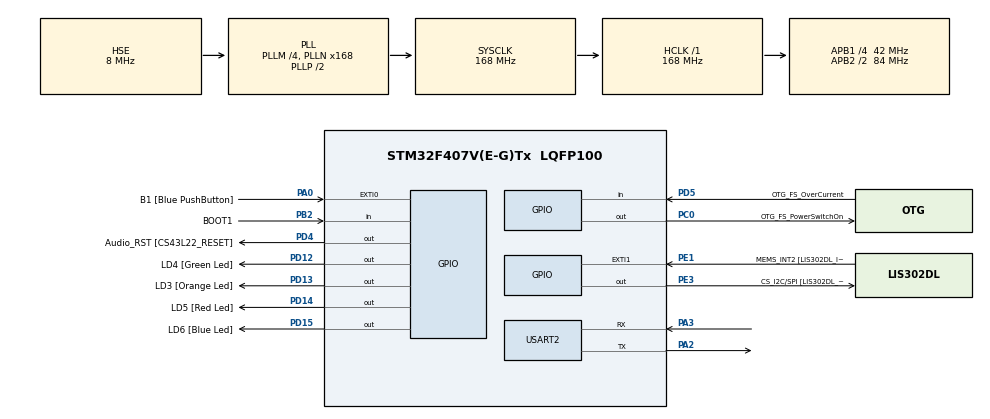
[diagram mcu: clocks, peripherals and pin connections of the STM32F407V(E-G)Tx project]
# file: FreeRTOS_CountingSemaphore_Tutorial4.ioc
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Mcu.Family=STM32F4
PA11.GPIO_Speed=GPIO_SPEED_FREQ_LOW
PC3.GPIO_Mode=GPIO_MODE_AF_PP
PD12.GPIO_Label=LD4 [Green Led]
PH0-OSC_IN.Signal=RCC_OSC_IN
VP_SYS_VS_tim6.Mode=TIM6
RCC.CortexFreq_Value=168000000
PC10.GPIO_PuPd=GPIO_NOPULL
PB10.GPIO_Speed=GPIO_SPEED_FREQ_LOW
PB6.GPIO_Mode=GPIO_MODE_AF_OD
PB10.GPIO_PuPd=GPIO_NOPULL
NVIC.TIM6_DAC_IRQn=true\:0\:0\:false\:false\:true\:false\:false\:true
PA10.GPIO_PuPd=GPIO_NOPULL
PD15.GPIO_Speed=GPIO_SPEED_FREQ_LOW
PC10.Signal=I2S3_CK
PC12.Signal=I2S3_SD
PA14.GPIO_Label=SWCLK
PA7.GPIO_Mode=GPIO_MODE_AF_PP
PC0.GPIO_Label=OTG_FS_PowerSwitchOn
PA6.GPIO_Label=SPI1_MISO [LIS302DL_SDO]
PB6.GPIO_Label=Audio_SCL [CS43L22_SCL]
PC10.GPIO_Speed=GPIO_SPEED_FREQ_LOW
PA11.GPIO_PuPd=GPIO_NOPULL
PC15-OSC32_OUT.GPIO_Label=PC15-OSC32_OUT
PC3.GPIO_Speed=GPIO_SPEED_FREQ_LOW
RCC.SYSCLKSource=RCC_SYSCLKSOURCE_PLLCLK
ProjectManager.StackSize=0x400
PA6.GPIO_Mode=GPIO_MODE_AF_PP
PD13.Signal=GPIO_Output
PD14.GPIO_Speed=GPIO_SPEED_FREQ_LOW
PA12.Signal=USB_OTG_FS_DP
RCC.HCLKFreq_Value=168000000
PD4.Signal=GPIO_Output
RCC.APB2TimFreq_Value=168000000
PB6.Signal=I2C1_SCL
PC7.Signal=I2S3_MCK
PC3.Signal=I2S2_SD
PE1.Signal=GPXTI1
RCC.AHBFreq_Value=168000000
PH0-OSC_IN.Mode=HSE-External-Oscillator
PH0-OSC_IN.GPIO_Label=PH0-OSC_IN
PA9.GPIO_Mode=GPIO_MODE_INPUT
RCC.HSE_VALUE=8000000
PA4.GPIO_PuPd=GPIO_NOPULL
PB2.Signal=GPIO_Input
PA4.GPIO_Speed=GPIO_SPEED_FREQ_LOW
PA6.GPIO_PuPd=GPIO_NOPULL
PA5.GPIO_PuPd=GPIO_NOPULL
PA10.GPIO_Label=OTG_FS_ID
PC7.GPIO_Mode=GPIO_MODE_AF_PP
PD5.GPIO_Mode=GPIO_MODE_INPUT
PD14.GPIO_PuPd=GPIO_NOPULL
VP_FREERTOS_VS_CMSIS_V1.Mode=CMSIS_V1
PB2.GPIO_PuPd=GPIO_NOPULL
PH1-OSC_OUT.Mode=HSE-External-Oscillator
PD13.GPIO_Label=LD3 [Orange Led]
Mcu.Package=LQFP100
PB9.Signal=I2C1_SDA
PA6.Signal=SPI1_MISO
NVIC.TimeBase=TIM6_DAC_IRQn
USART2.VirtualMode=VM_ASYNC
PD12.Signal=GPIO_Output
PD5.GPIO_Label=OTG_FS_OverCurrent
PD15.GPIO_PuPd=GPIO_NOPULL
NVIC.TimeBaseIP=TIM6
PA10.Signal=USB_OTG_FS_ID
PB9.GPIO_PuPd=GPIO_NOPULL
PA10.GPIO_Speed=GPIO_SPEED_FREQ_LOW
RCC.APB2CLKDivider=RCC_HCLK_DIV2
PB9.GPIO_Speed=GPIO_SPEED_FREQ_LOW
RCC.APB1TimFreq_Value=84000000
PC14-OSC32_IN.GPIO_Label=PC14-OSC32_IN
PC12.GPIO_PuPd=GPIO_NOPULL
PA6.GPIO_Speed=GPIO_SPEED_FREQ_LOW
PC0.GPIO_PuPd=GPIO_NOPULL
PA12.GPIO_PuPd=GPIO_NOPULL
PA4.GPIO_Label=I2S3_WS [CS43L22_LRCK]
PD15.Signal=GPIO_Output
PC0.PinState=GPIO_PIN_SET
PA12.GPIO_Speed=GPIO_SPEED_FREQ_LOW
PA3.Signal=USART2_RX
PB3.GPIO_Label=SWO
RCC.PLLSourceVirtual=RCC_PLLSOURCE_HSE
PD12.GPIO_Speed=GPIO_SPEED_FREQ_LOW
FREERTOS.Tasks01=defaultTask,0,128,StartDefaultTask,Default,NULL,Dynamic,NULL,NULL
PD15.GPIO_Label=LD6 [Blue Led]
PB9.GPIO_Label=Audio_SDA [CS43L22_SDA]
PC10.GPIO_Label=I2S3_SCK [CS43L22_SCLK]
PA9.GPIO_Label=VBUS_FS
PB6.GPIO_PuPd=GPIO_NOPULL
PA11.GPIO_Label=OTG_FS_DM
PE1.GPIO_PuPd=GPIO_NOPULL
PD5.Signal=GPIO_Input
PC0.Signal=GPIO_Output
PE1.GPIO_ModeDefaultEXTI=GPIO_MODE_EVT_RISING
RCC.APB1CLKDivider=RCC_HCLK_DIV4
PC14-OSC32_IN.Signal=RCC_OSC32_IN
PA9.GPIO_PuPd=GPIO_NOPULL
NVIC.USART2_IRQn=true\:5\:0\:false\:false\:true\:true\:true\:true
PA12.GPIO_Label=OTG_FS_DP
PA0-WKUP.GPIO_Label=B1 [Blue PushButton]
PA0-WKUP.Signal=GPXTI0
PA10.GPIO_Mode=GPIO_MODE_AF_PP
PA3.Mode=Asynchronous
PA13.Signal=SYS_JTMS-SWDIO
PC10.GPIO_Mode=GPIO_MODE_AF_PP
PD4.GPIO_PuPd=GPIO_NOPULL
PC0.GPIO_Speed=GPIO_SPEED_FREQ_LOW
PB10.GPIO_Mode=GPIO_MODE_AF_PP
ProjectManager.TargetToolchain=STM32CubeIDE
PB10.GPIO_Label=CLK_IN [MP45DT02_CLK]
PA9.Signal=USB_OTG_FS_VBUS
PC7.GPIO_PuPd=GPIO_NOPULL
RCC.LSE_VALUE=32768
PC15-OSC32_OUT.Signal=RCC_OSC32_OUT
PA7.GPIO_PuPd=GPIO_NOPULL
PB10.Signal=I2S2_CK
PA5.Signal=SPI1_SCK
board=STM32F407G-DISC1
PD13.GPIO_Speed=GPIO_SPEED_FREQ_LOW
PC7.GPIO_Speed=GPIO_SPEED_FREQ_LOW
RCC.VCOOutputFreq_Value=336000000
PE1.GPIO_Label=MEMS_INT2 [LIS302DL_INT2]
PA7.GPIO_Speed=GPIO_SPEED_FREQ_LOW
PB9.GPIO_Mode=GPIO_MODE_AF_OD
PA12.GPIO_Mode=GPIO_MODE_AF_PP
PA4.GPIO_Mode=GPIO_MODE_AF_PP
RCC.APB2Freq_Value=84000000
PB2.GPIO_Mode=GPIO_MODE_INPUT
PD4.GPIO_Label=Audio_RST [CS43L22_RESET]
PD4.GPIO_Speed=GPIO_SPEED_FREQ_LOW
PE3.GPIO_PuPd=GPIO_NOPULL
PH1-OSC_OUT.Signal=RCC_OSC_OUT
PD13.GPIO_PuPd=GPIO_NOPULL
PD5.GPIO_PuPd=GPIO_NOPULL
PD14.GPIO_Label=LD5 [Red Led]
PH1-OSC_OUT.GPIO_Label=PH1-OSC_OUT
Mcu.Name=STM32F407V(E-G)Tx
PA2.Signal=USART2_TX
PA13.GPIO_Label=SWDIO
PC7.GPIO_Label=I2S3_MCK [CS43L22_MCLK]
PD14.Signal=GPIO_Output
RCC.48MHZClocksFreq_Value=48000000
PB3.Signal=SYS_JTDO-SWO
PA4.Signal=I2S3_WS
RCC.SYSCLKFreq_VALUE=168000000
PC12.GPIO_Mode=GPIO_MODE_AF_PP
PA7.GPIO_Label=SPI1_MOSI [LIS302DL_SDA/SDI/SDO]
FREERTOS.configUSE_COUNTING_SEMAPHORES=1
PA5.GPIO_Label=SPI1_SCK [LIS302DL_SCL/SPC]
PE3.GPIO_Speed=GPIO_SPEED_FREQ_LOW
PC12.GPIO_Label=I2S3_SD [CS43L22_SDIN]
PA11.Signal=USB_OTG_FS_DM
PA14.Signal=SYS_JTCK-SWCLK
PB2.GPIO_Label=BOOT1
ProjectManager.HeapSize=0x200
RCC.HSI_VALUE=16000000
PA5.GPIO_Speed=GPIO_SPEED_FREQ_LOW
RCC.PLLQ=7
NVIC.PriorityGroup=NVIC_PRIORITYGROUP_4
RCC.PLLM=4
RCC.PLLN=168
PE3.Signal=GPIO_Output
PA2.Mode=Asynchronous
PE3.GPIO_Label=CS_I2C/SPI [LIS302DL_CS_I2C/SPI]
PC3.GPIO_Label=PDM_OUT [MP45DT02_DOUT]
PA11.GPIO_Mode=GPIO_MODE_AF_PP
PB6.GPIO_Speed=GPIO_SPEED_FREQ_LOW
RCC.APB1Freq_Value=42000000
PA5.GPIO_Mode=GPIO_MODE_AF_PP
PC12.GPIO_Speed=GPIO_SPEED_FREQ_LOW
PC3.GPIO_PuPd=GPIO_NOPULL
PD12.GPIO_PuPd=GPIO_NOPULL
PA7.Signal=SPI1_MOSI

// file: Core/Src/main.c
/* USER CODE BEGIN Header */
/**
  ******************************************************************************
  * @file           : main.c
  * @brief          : Main program body
  ******************************************************************************
  * @attention
  *
  * <h2><center>&copy; Copyright (c) 2022 STMicroelectronics.
  * All rights reserved.</center></h2>
  *
  * This software component is licensed by ST under BSD 3-Clause license,
  * the "License"; You may not use this file except in compliance with the
  * License. You may obtain a copy of the License at:
  *                        opensource.org/licenses/BSD-3-Clause
  *
  ******************************************************************************
  */
/* USER CODE END Header */
#include "main.h"
//#include "cmsis_os.h"

/* USER CODE BEGIN Includes */
#include "FreeRTOS.h"
#include "task.h"
#include "timers.h"
#include "queue.h"
#include "semphr.h"
#include "event_groups.h"

#include "stdlib.h"
#include "string.h"
/* USER CODE END Includes */

UART_HandleTypeDef huart2;

void SystemClock_Config(void);
static void MX_GPIO_Init(void);
static void MX_USART2_UART_Init(void);

/* USER CODE BEGIN PFP */

//creating task defines

TaskHandle_t HPThandler;
void HPT_TASK(void *pvParameters);

TaskHandle_t MPThandler;
void MPT_TASK(void *pvParameters);

TaskHandle_t LPThandler;
void LPT_TASK(void *pvParameters);

TaskHandle_t VLPThandler;
void VLPT_TASK(void *pvParameters);

//semaphore related
SemaphoreHandle_t CountingSemaphore;

//resource related
int resource[3] = {111,222,333};
int indx = 0;

//UART data transfer

uint8_t rx_data = 0;

/* USER CODE END PFP */

int main(void)
{

  /* MCU Configuration--------------------------------------------------------*/

  /* Reset of all peripherals, Initializes the Flash interface and the Systick. */
  HAL_Init();

  /* Configure the system clock */
  SystemClock_Config();

  /* Initialize all configured peripherals */
  MX_GPIO_Init();
  MX_USART2_UART_Init();
  /* USER CODE BEGIN 2 */
HAL_UART_Receive_IT(&huart2, &rx_data, 1);
  /* USER CODE END 2 */

CountingSemaphore = xSemaphoreCreateCounting(3,0);
if(CountingSemaphore == NULL) HAL_UART_Transmit(&huart2, (uint8_t*)"Unable to create semaphore\n\n", 28, 100);
else HAL_UART_Transmit(&huart2, (uint8_t*)"Counting Semaphore created successfully\n\n", 41, 100);

// create TASKS
xTaskCreate(HPT_TASK, "HPT", 128, NULL, 3, &HPThandler);

xTaskCreate(MPT_TASK, "MPT", 128, NULL, 2, &MPThandler);

xTaskCreate(LPT_TASK, "LPT", 128, NULL, 1, &LPThandler);

xTaskCreate(VLPT_TASK, "VLPT", 128, NULL, 0, &VLPThandler);

vTaskStartScheduler();
  /* We should never get here as control is now taken by the scheduler */
  /* Infinite loop */
  while (1)
  {

  }
}

void SystemClock_Config(void)
{
  RCC_OscInitTypeDef RCC_OscInitStruct = {0};
  RCC_ClkInitTypeDef RCC_ClkInitStruct = {0};

  /** Configure the main internal regulator output voltage
  */
  __HAL_RCC_PWR_CLK_ENABLE();
  __HAL_PWR_VOLTAGESCALING_CONFIG(PWR_REGULATOR_VOLTAGE_SCALE1);
  /** Initializes the RCC Oscillators according to the specified parameters
  * in the RCC_OscInitTypeDef structure.
  */
  RCC_OscInitStruct.OscillatorType = RCC_OSCILLATORTYPE_HSE;
  RCC_OscInitStruct.HSEState = RCC_HSE_ON;
  RCC_OscInitStruct.PLL.PLLState = RCC_PLL_ON;
  RCC_OscInitStruct.PLL.PLLSource = RCC_PLLSOURCE_HSE;
  RCC_OscInitStruct.PLL.PLLM = 4;
  RCC_OscInitStruct.PLL.PLLN = 168;
  RCC_OscInitStruct.PLL.PLLP = RCC_PLLP_DIV2;
  RCC_OscInitStruct.PLL.PLLQ = 7;
  if (HAL_RCC_OscConfig(&RCC_OscInitStruct) != HAL_OK)
  {
    Error_Handler();
  }
  /** Initializes the CPU, AHB and APB buses clocks
  */
  RCC_ClkInitStruct.ClockType = RCC_CLOCKTYPE_HCLK|RCC_CLOCKTYPE_SYSCLK
                              |RCC_CLOCKTYPE_PCLK1|RCC_CLOCKTYPE_PCLK2;
  RCC_ClkInitStruct.SYSCLKSource = RCC_SYSCLKSOURCE_PLLCLK;
  RCC_ClkInitStruct.AHBCLKDivider = RCC_SYSCLK_DIV1;
  RCC_ClkInitStruct.APB1CLKDivider = RCC_HCLK_DIV4;
  RCC_ClkInitStruct.APB2CLKDivider = RCC_HCLK_DIV2;

  if (HAL_RCC_ClockConfig(&RCC_ClkInitStruct, FLASH_LATENCY_5) != HAL_OK)
  {
    Error_Handler();
  }
}

static void MX_USART2_UART_Init(void)
{

  huart2.Instance = USART2;
  huart2.Init.BaudRate = 115200;
  huart2.Init.WordLength = UART_WORDLENGTH_8B;
  huart2.Init.StopBits = UART_STOPBITS_1;
  huart2.Init.Parity = UART_PARITY_NONE;
  huart2.Init.Mode = UART_MODE_TX_RX;
  huart2.Init.HwFlowCtl = UART_HWCONTROL_NONE;
  huart2.Init.OverSampling = UART_OVERSAMPLING_16;
  if (HAL_UART_Init(&huart2) != HAL_OK)
  {
    Error_Handler();
  }

}

static void MX_GPIO_Init(void)
{
  GPIO_InitTypeDef GPIO_InitStruct = {0};

  /* GPIO Ports Clock Enable */
  __HAL_RCC_GPIOE_CLK_ENABLE();
  __HAL_RCC_GPIOC_CLK_ENABLE();
  __HAL_RCC_GPIOH_CLK_ENABLE();
  __HAL_RCC_GPIOA_CLK_ENABLE();
  __HAL_RCC_GPIOB_CLK_ENABLE();
  __HAL_RCC_GPIOD_CLK_ENABLE();

  /*Configure GPIO pin Output Level */
  HAL_GPIO_WritePin(CS_I2C_SPI_GPIO_Port, CS_I2C_SPI_Pin, GPIO_PIN_RESET);

  /*Configure GPIO pin Output Level */
  HAL_GPIO_WritePin(OTG_FS_PowerSwitchOn_GPIO_Port, OTG_FS_PowerSwitchOn_Pin, GPIO_PIN_SET);

  /*Configure GPIO pin Output Level */
  HAL_GPIO_WritePin(GPIOD, LD4_Pin|LD3_Pin|LD5_Pin|LD6_Pin
                          |Audio_RST_Pin, GPIO_PIN_RESET);

  /*Configure GPIO pin : CS_I2C_SPI_Pin */
  GPIO_InitStruct.Pin = CS_I2C_SPI_Pin;
  GPIO_InitStruct.Mode = GPIO_MODE_OUTPUT_PP;
  GPIO_InitStruct.Pull = GPIO_NOPULL;
  GPIO_InitStruct.Speed = GPIO_SPEED_FREQ_LOW;
  HAL_GPIO_Init(CS_I2C_SPI_GPIO_Port, &GPIO_InitStruct);

  /*Configure GPIO pin : OTG_FS_PowerSwitchOn_Pin */
  GPIO_InitStruct.Pin = OTG_FS_PowerSwitchOn_Pin;
  GPIO_InitStruct.Mode = GPIO_MODE_OUTPUT_PP;
  GPIO_InitStruct.Pull = GPIO_NOPULL;
  GPIO_InitStruct.Speed = GPIO_SPEED_FREQ_LOW;
  HAL_GPIO_Init(OTG_FS_PowerSwitchOn_GPIO_Port, &GPIO_InitStruct);

  /*Configure GPIO pin : PDM_OUT_Pin */
  GPIO_InitStruct.Pin = PDM_OUT_Pin;
  GPIO_InitStruct.Mode = GPIO_MODE_AF_PP;
  GPIO_InitStruct.Pull = GPIO_NOPULL;
  GPIO_InitStruct.Speed = GPIO_SPEED_FREQ_LOW;
  GPIO_InitStruct.Alternate = GPIO_AF5_SPI2;
  HAL_GPIO_Init(PDM_OUT_GPIO_Port, &GPIO_InitStruct);

  /*Configure GPIO pin : B1_Pin */
  GPIO_InitStruct.Pin = B1_Pin;
  GPIO_InitStruct.Mode = GPIO_MODE_IT_RISING;
  GPIO_InitStruct.Pull = GPIO_NOPULL;
  HAL_GPIO_Init(B1_GPIO_Port, &GPIO_InitStruct);

  /*Configure GPIO pin : I2S3_WS_Pin */
  GPIO_InitStruct.Pin = I2S3_WS_Pin;
  GPIO_InitStruct.Mode = GPIO_MODE_AF_PP;
  GPIO_InitStruct.Pull = GPIO_NOPULL;
  GPIO_InitStruct.Speed = GPIO_SPEED_FREQ_LOW;
  GPIO_InitStruct.Alternate = GPIO_AF6_SPI3;
  HAL_GPIO_Init(I2S3_WS_GPIO_Port, &GPIO_InitStruct);

  /*Configure GPIO pins : SPI1_SCK_Pin SPI1_MISO_Pin SPI1_MOSI_Pin */
  GPIO_InitStruct.Pin = SPI1_SCK_Pin|SPI1_MISO_Pin|SPI1_MOSI_Pin;
  GPIO_InitStruct.Mode = GPIO_MODE_AF_PP;
  GPIO_InitStruct.Pull = GPIO_NOPULL;
  GPIO_InitStruct.Speed = GPIO_SPEED_FREQ_LOW;
  GPIO_InitStruct.Alternate = GPIO_AF5_SPI1;
  HAL_GPIO_Init(GPIOA, &GPIO_InitStruct);

  /*Configure GPIO pin : BOOT1_Pin */
  GPIO_InitStruct.Pin = BOOT1_Pin;
  GPIO_InitStruct.Mode = GPIO_MODE_INPUT;
  GPIO_InitStruct.Pull = GPIO_NOPULL;
  HAL_GPIO_Init(BOOT1_GPIO_Port, &GPIO_InitStruct);

  /*Configure GPIO pin : CLK_IN_Pin */
  GPIO_InitStruct.Pin = CLK_IN_Pin;
  GPIO_InitStruct.Mode = GPIO_MODE_AF_PP;
  GPIO_InitStruct.Pull = GPIO_NOPULL;
  GPIO_InitStruct.Speed = GPIO_SPEED_FREQ_LOW;
  GPIO_InitStruct.Alternate = GPIO_AF5_SPI2;
  HAL_GPIO_Init(CLK_IN_GPIO_Port, &GPIO_InitStruct);

  /*Configure GPIO pins : LD4_Pin LD3_Pin LD5_Pin LD6_Pin
                           Audio_RST_Pin */
  GPIO_InitStruct.Pin = LD4_Pin|LD3_Pin|LD5_Pin|LD6_Pin
                          |Audio_RST_Pin;
  GPIO_InitStruct.Mode = GPIO_MODE_OUTPUT_PP;
  GPIO_InitStruct.Pull = GPIO_NOPULL;
  GPIO_InitStruct.Speed = GPIO_SPEED_FREQ_LOW;
  HAL_GPIO_Init(GPIOD, &GPIO_InitStruct);

  /*Configure GPIO pins : I2S3_MCK_Pin I2S3_SCK_Pin I2S3_SD_Pin */
  GPIO_InitStruct.Pin = I2S3_MCK_Pin|I2S3_SCK_Pin|I2S3_SD_Pin;
  GPIO_InitStruct.Mode = GPIO_MODE_AF_PP;
  GPIO_InitStruct.Pull = GPIO_NOPULL;
  GPIO_InitStruct.Speed = GPIO_SPEED_FREQ_LOW;
  GPIO_InitStruct.Alternate = GPIO_AF6_SPI3;
  HAL_GPIO_Init(GPIOC, &GPIO_InitStruct);

  /*Configure GPIO pin : VBUS_FS_Pin */
  GPIO_InitStruct.Pin = VBUS_FS_Pin;
  GPIO_InitStruct.Mode = GPIO_MODE_INPUT;
  GPIO_InitStruct.Pull = GPIO_NOPULL;
  HAL_GPIO_Init(VBUS_FS_GPIO_Port, &GPIO_InitStruct);

  /*Configure GPIO pins : OTG_FS_ID_Pin OTG_FS_DM_Pin OTG_FS_DP_Pin */
  GPIO_InitStruct.Pin = OTG_FS_ID_Pin|OTG_FS_DM_Pin|OTG_FS_DP_Pin;
  GPIO_InitStruct.Mode = GPIO_MODE_AF_PP;
  GPIO_InitStruct.Pull = GPIO_NOPULL;
  GPIO_InitStruct.Speed = GPIO_SPEED_FREQ_LOW;
  GPIO_InitStruct.Alternate = GPIO_AF10_OTG_FS;
  HAL_GPIO_Init(GPIOA, &GPIO_InitStruct);

  /*Configure GPIO pin : OTG_FS_OverCurrent_Pin */
  GPIO_InitStruct.Pin = OTG_FS_OverCurrent_Pin;
  GPIO_InitStruct.Mode = GPIO_MODE_INPUT;
  GPIO_InitStruct.Pull = GPIO_NOPULL;
  HAL_GPIO_Init(OTG_FS_OverCurrent_GPIO_Port, &GPIO_InitStruct);

  /*Configure GPIO pins : Audio_SCL_Pin Audio_SDA_Pin */
  GPIO_InitStruct.Pin = Audio_SCL_Pin|Audio_SDA_Pin;
  GPIO_InitStruct.Mode = GPIO_MODE_AF_OD;
  GPIO_InitStruct.Pull = GPIO_PULLUP;
  GPIO_InitStruct.Speed = GPIO_SPEED_FREQ_LOW;
  GPIO_InitStruct.Alternate = GPIO_AF4_I2C1;
  HAL_GPIO_Init(GPIOB, &GPIO_InitStruct);

  /*Configure GPIO pin : MEMS_INT2_Pin */
  GPIO_InitStruct.Pin = MEMS_INT2_Pin;
  GPIO_InitStruct.Mode = GPIO_MODE_EVT_RISING;
  GPIO_InitStruct.Pull = GPIO_NOPULL;
  HAL_GPIO_Init(MEMS_INT2_GPIO_Port, &GPIO_InitStruct);

}

/* USER CODE BEGIN 4 */

/******************************** High Priority Task *****************************/
void HPT_TASK(void *pvParameters)
{
	char sresource[3];

	//giving 3 semaphores at the beginning
	xSemaphoreGive(CountingSemaphore);
	xSemaphoreGive(CountingSemaphore);
	xSemaphoreGive(CountingSemaphore);

	while(1)
	{
		char str[150];
		strcpy(str, "Entered HPT Task\n About to acquire the semaphore\n\n");
		HAL_UART_Transmit(&huart2, (uint8_t*)str, strlen(str), HAL_MAX_DELAY);

		xSemaphoreTake(CountingSemaphore, portMAX_DELAY);

		itoa(resource[indx],sresource, 10); // 10 stands for decimal, 16 stands for hexa, 2 stands for binary
		strcpy(str, "Leaving HPT Task\n Accessed data is:: ");
		strcat(str,sresource);
		strcat(str,"\n Not releasing the semaphore \n\n\n");
		HAL_UART_Transmit(&huart2, (uint8_t*)str, strlen(str), HAL_MAX_DELAY);

		indx++;

		if(indx > 2) indx = 0;

		//vTaskDelay(3000);
		vTaskDelete(NULL);

	}
}

/******************************** Medium Priority Task *****************************/
void MPT_TASK(void *pvParameters)
{
	char sresource[3];

	while(1)
	{
		char str[150];
		strcpy(str, "Entered MPT Task\n About to acquire the semaphore\n\n");
		HAL_UART_Transmit(&huart2, (uint8_t*)str, strlen(str), HAL_MAX_DELAY);

		xSemaphoreTake(CountingSemaphore, portMAX_DELAY);

		itoa(resource[indx],sresource, 10); // 10 stands for decimal, 16 stands for hexa, 2 stands for binary
		strcpy(str, "Leaving MPT Task\n Accessed data is:: ");
		strcat(str,sresource);
		strcat(str,"\n Not releasing the semaphore \n\n\n");
		HAL_UART_Transmit(&huart2, (uint8_t*)str, strlen(str), HAL_MAX_DELAY);

		indx++;

		if(indx > 2) indx = 0;

		//vTaskDelay(2000);
		vTaskDelete(NULL);

	}
}

/******************************** Low Priority Task *****************************/
void LPT_TASK(void *pvParameters)
{
	char sresource[3];

	while(1)
	{
		char str[150];
		strcpy(str, "Entered LPT Task\n About to acquire the semaphore\n\n");
		HAL_UART_Transmit(&huart2, (uint8_t*)str, strlen(str), HAL_MAX_DELAY);

 		xSemaphoreTake(CountingSemaphore, portMAX_DELAY);

		itoa(resource[indx],sresource, 10); // 10 stands for decimal, 16 stands for hexa, 2 stands for binary
		strcpy(str, "Leaving LPT Task\n Accessed data is:: ");
		strcat(str,sresource);
		strcat(str,"\n Not releasing the semaphore \n\n\n");
		HAL_UART_Transmit(&huart2, (uint8_t*)str, strlen(str), HAL_MAX_DELAY);

		indx++;

		if(indx > 2) indx = 0;

		//vTaskDelay(1000);
		vTaskDelete(NULL);

	}
}

/******************************** Very Low Priority Task *****************************/
void VLPT_TASK(void *pvParameters)
{
	char sresource[3];

	while(1)
	{
		char str[150];
		strcpy(str, "Entered VLPT Task\n About to acquire the semaphore\n\n");
		HAL_UART_Transmit(&huart2, (uint8_t*)str, strlen(str), HAL_MAX_DELAY);

		xSemaphoreTake(CountingSemaphore, portMAX_DELAY);

		itoa(resource[indx],sresource, 10); // 10 stands for decimal, 16 stands for hexadecimal, 2 stands for binary
		strcpy(str, "Leaving VLPT Task\n Accessed data is:: ");
		strcat(str,sresource);
		strcat(str,"\n Not releasing the semaphore \n\n\n");
		HAL_UART_Transmit(&huart2, (uint8_t*)str, strlen(str), HAL_MAX_DELAY);

		indx++;

		if(indx > 2) indx = 0;

		//vTaskDelay(500);
		vTaskDelete(NULL);
	}
}

void HAL_UART_RxCpltCallback(UART_HandleTypeDef *huart)
{
	HAL_UART_Receive_IT(huart, &rx_data,1);
	if(rx_data == 'r')
	{
		//release the semaphore here
		BaseType_t xHigherPriorityTaskWoken = pdFALSE;
		xSemaphoreGiveFromISR(CountingSemaphore,&xHigherPriorityTaskWoken); // ISR safe version

		portEND_SWITCHING_ISR(xHigherPriorityTaskWoken);

	}
}

/* USER CODE END 4 */

 /**
  * @brief  Period elapsed callback in non blocking mode
  * @note   This function is called  when TIM6 interrupt took place, inside
  * HAL_TIM_IRQHandler(). It makes a direct call to HAL_IncTick() to increment
  * a global variable "uwTick" used as application time base.
  * @param  htim : TIM handle
  * @retval None
  */
void HAL_TIM_PeriodElapsedCallback(TIM_HandleTypeDef *htim)
{
  if (htim->Instance == TIM6) {
    HAL_IncTick();
  }
}

void Error_Handler(void)
{
  __disable_irq();
  while (1)
  {
  }
}

/************************ (C) COPYRIGHT STMicroelectronics *****END OF FILE****/
